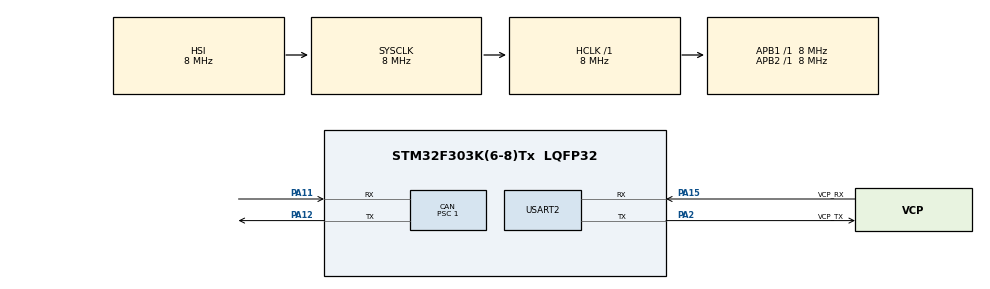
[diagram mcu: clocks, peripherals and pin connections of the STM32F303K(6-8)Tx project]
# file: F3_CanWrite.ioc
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CAN.BS1=CAN_BS1_11TQ
CAN.BS2=CAN_BS2_4TQ
CAN.CalculateBaudRate=500000
CAN.CalculateTimeBit=2000
CAN.CalculateTimeQuantum=125.0
CAN.Prescaler=1
Mcu.Family=STM32F3
Mcu.Name=STM32F303K(6-8)Tx
Mcu.Package=LQFP32
NVIC.CAN_RX0_IRQn=true\:0\:0\:false\:false\:true\:true\:true\:true
NVIC.PriorityGroup=NVIC_PRIORITYGROUP_4
PA11.Mode=CAN_Activate
PA11.Signal=CAN_RX
PA12.Mode=CAN_Activate
PA12.Signal=CAN_TX
PA13.GPIO_Label=SWDIO
PA13.Mode=Serial_Wire
PA13.Signal=SYS_JTMS-SWDIO
PA14.GPIO_Label=SWCLK
PA14.Mode=Serial_Wire
PA14.Signal=SYS_JTCK-SWCLK
PA15.GPIO_Label=VCP_RX
PA15.Mode=Asynchronous
PA15.Signal=USART2_RX
PA2.GPIO_Label=VCP_TX
PA2.Mode=Asynchronous
PA2.Signal=USART2_TX
PF0\ /\ OSC_IN.GPIO_Label=MCO
PF0\ /\ OSC_IN.Mode=HSE-External-Clock-Source
PF0\ /\ OSC_IN.Signal=RCC_OSC_IN
ProjectManager.HeapSize=0x200
ProjectManager.StackSize=0x400
ProjectManager.TargetToolchain=STM32CubeIDE
RCC.AHBFreq_Value=8000000
RCC.APB1Freq_Value=8000000
RCC.APB2Freq_Value=8000000
RCC.CortexFreq_Value=8000000
RCC.HSE_VALUE=8000000
RCC.HSI_VALUE=8000000
RCC.SYSCLKFreq_VALUE=8000000
USART2.VirtualMode-Asynchronous=VM_ASYNC
board=NUCLEO-F303K8

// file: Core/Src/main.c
/* USER CODE BEGIN Header */
/**
  ******************************************************************************
  * @file           : main.c
  * @brief          : Main program body
  ******************************************************************************
  * @attention
  *
  * Copyright (c) 2024 STMicroelectronics.
  * All rights reserved.
  *
  * This software is licensed under terms that can be found in the LICENSE file
  * in the root directory of this software component.
  * If no LICENSE file comes with this software, it is provided AS-IS.
  *
  ******************************************************************************
  */
/* USER CODE END Header */
#include "main.h"

CAN_HandleTypeDef hcan;

UART_HandleTypeDef huart2;

/* USER CODE BEGIN PV */
CAN_TxHeaderTypeDef TxHeader;
uint32_t TxMailbox;
uint8_t TxData[8];

CAN_FilterTypeDef filter;
uint32_t id;
uint32_t dlc;
uint8_t data[8];
/* USER CODE END PV */

void SystemClock_Config(void);
static void MX_GPIO_Init(void);
static void MX_USART2_UART_Init(void);
static void MX_CAN_Init(void);
/* USER CODE BEGIN PFP */
void HAL_CAN_RxFifo0MsgPendingCallback(CAN_HandleTypeDef *hcan){
	CAN_RxHeaderTypeDef RxHeader;
	uint8_t RxData[8];
	if(HAL_CAN_GetRxMessage(hcan,CAN_RX_FIFO0,&RxHeader,RxData)==HAL_OK){
		id = (RxHeader.IDE == CAN_ID_STD)? RxHeader.StdId : RxHeader.ExtId;     // ID
		dlc = RxHeader.DLC;                                                     // DLC
		data[0] = RxData[0];                                                    // Data
		data[1] = RxData[1];
		data[2] = RxData[2];
		data[3] = RxData[3];
		data[4] = RxData[4];
		data[5] = RxData[5];
		data[6] = RxData[6];
		data[7] = RxData[7];
	}
}
/* USER CODE END PFP */

int main(void)
{

  /* MCU Configuration--------------------------------------------------------*/

  /* Reset of all peripherals, Initializes the Flash interface and the Systick. */
  HAL_Init();

  /* Configure the system clock */
  SystemClock_Config();

  /* Initialize all configured peripherals */
  MX_GPIO_Init();
  MX_USART2_UART_Init();
  MX_CAN_Init();
  /* USER CODE BEGIN 2 */
//  TxHeader.StdId = 0x401;
  TxHeader.RTR = CAN_RTR_DATA;
  TxHeader.IDE = CAN_ID_STD;
  TxHeader.DLC = 8;
  TxHeader.TransmitGlobalTime = DISABLE;

  filter.FilterIdHigh = 0;
  filter.FilterIdLow = 0;
  filter.FilterMaskIdHigh = 0;
  filter.FilterMaskIdLow = 0;
  filter.FilterScale = CAN_FILTERSCALE_32BIT;
  filter.FilterFIFOAssignment = CAN_FILTER_FIFO0;
  filter.FilterBank = 0;
  filter.FilterMode = CAN_FILTERMODE_IDMASK;
  filter.SlaveStartFilterBank = 14;
  filter.FilterActivation = ENABLE;
  HAL_CAN_ConfigFilter(&hcan,&filter);

  HAL_CAN_ActivateNotification(&hcan,CAN_IT_RX_FIFO0_MSG_PENDING);
  HAL_CAN_Start(&hcan);
  /* USER CODE END 2 */

  /* Infinite loop */
  /* USER CODE BEGIN WHILE */
  while (1)
  {

	  TxHeader.StdId = 0x401;
	  if(0<HAL_CAN_GetTxMailboxesFreeLevel(&hcan)){
		  TxData[0] = 41;
  		  TxData[1] = 42;
		  TxData[2] = 43;
		  TxData[3] = 44;
		  TxData[4] = 45;
		  TxData[5] = 46;
		  TxData[6] = 47;
		  TxData[7] = 48;
		  HAL_CAN_AddTxMessage(&hcan,&TxHeader,TxData,&TxMailbox);
	  }
	  TxHeader.StdId = 0x201;
	  if(0<HAL_CAN_GetTxMailboxesFreeLevel(&hcan)){
		  TxData[0] = 21;
  		  TxData[1] = 22;
		  TxData[2] = 23;
		  TxData[3] = 24;
		  TxData[4] = 25;
		  TxData[5] = 26;
		  TxData[6] = 27;
		  TxData[7] = 28;
		  HAL_CAN_AddTxMessage(&hcan,&TxHeader,TxData,&TxMailbox);
	  }
    /* USER CODE END WHILE */

  }
}

void SystemClock_Config(void)
{
  RCC_OscInitTypeDef RCC_OscInitStruct = {0};
  RCC_ClkInitTypeDef RCC_ClkInitStruct = {0};

  /** Initializes the RCC Oscillators according to the specified parameters
  * in the RCC_OscInitTypeDef structure.
  */
  RCC_OscInitStruct.OscillatorType = RCC_OSCILLATORTYPE_HSI;
  RCC_OscInitStruct.HSIState = RCC_HSI_ON;
  RCC_OscInitStruct.HSICalibrationValue = RCC_HSICALIBRATION_DEFAULT;
  RCC_OscInitStruct.PLL.PLLState = RCC_PLL_NONE;
  if (HAL_RCC_OscConfig(&RCC_OscInitStruct) != HAL_OK)
  {
    Error_Handler();
  }

  /** Initializes the CPU, AHB and APB buses clocks
  */
  RCC_ClkInitStruct.ClockType = RCC_CLOCKTYPE_HCLK|RCC_CLOCKTYPE_SYSCLK
                              |RCC_CLOCKTYPE_PCLK1|RCC_CLOCKTYPE_PCLK2;
  RCC_ClkInitStruct.SYSCLKSource = RCC_SYSCLKSOURCE_HSI;
  RCC_ClkInitStruct.AHBCLKDivider = RCC_SYSCLK_DIV1;
  RCC_ClkInitStruct.APB1CLKDivider = RCC_HCLK_DIV1;
  RCC_ClkInitStruct.APB2CLKDivider = RCC_HCLK_DIV1;

  if (HAL_RCC_ClockConfig(&RCC_ClkInitStruct, FLASH_LATENCY_0) != HAL_OK)
  {
    Error_Handler();
  }
}

static void MX_CAN_Init(void)
{

  hcan.Instance = CAN;
  hcan.Init.Prescaler = 1;
  hcan.Init.Mode = CAN_MODE_NORMAL;
  hcan.Init.SyncJumpWidth = CAN_SJW_1TQ;
  hcan.Init.TimeSeg1 = CAN_BS1_11TQ;
  hcan.Init.TimeSeg2 = CAN_BS2_4TQ;
  hcan.Init.TimeTriggeredMode = DISABLE;
  hcan.Init.AutoBusOff = DISABLE;
  hcan.Init.AutoWakeUp = DISABLE;
  hcan.Init.AutoRetransmission = DISABLE;
  hcan.Init.ReceiveFifoLocked = DISABLE;
  hcan.Init.TransmitFifoPriority = DISABLE;
  if (HAL_CAN_Init(&hcan) != HAL_OK)
  {
    Error_Handler();
  }

}

static void MX_USART2_UART_Init(void)
{

  huart2.Instance = USART2;
  huart2.Init.BaudRate = 38400;
  huart2.Init.WordLength = UART_WORDLENGTH_8B;
  huart2.Init.StopBits = UART_STOPBITS_1;
  huart2.Init.Parity = UART_PARITY_NONE;
  huart2.Init.Mode = UART_MODE_TX_RX;
  huart2.Init.HwFlowCtl = UART_HWCONTROL_NONE;
  huart2.Init.OverSampling = UART_OVERSAMPLING_16;
  huart2.Init.OneBitSampling = UART_ONE_BIT_SAMPLE_DISABLE;
  huart2.AdvancedInit.AdvFeatureInit = UART_ADVFEATURE_NO_INIT;
  if (HAL_UART_Init(&huart2) != HAL_OK)
  {
    Error_Handler();
  }

}

static void MX_GPIO_Init(void)
{

  /* GPIO Ports Clock Enable */
  __HAL_RCC_GPIOF_CLK_ENABLE();
  __HAL_RCC_GPIOA_CLK_ENABLE();

}

void Error_Handler(void)
{
  __disable_irq();
  while (1)
  {
  }
}
